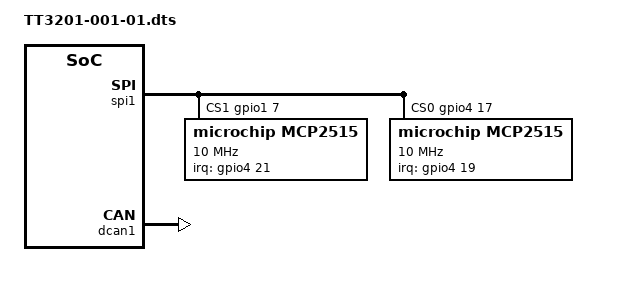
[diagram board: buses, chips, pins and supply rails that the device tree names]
/*
* Copyright (C) 2013 Tower Technologies
* Written by Alessandro Zummo <a.zummo@towertech.it>
*
* This program is free software; you can redistribute it and/or modify
* it under the terms of the GNU General Public License version 2 as
* published by the Free Software Foundation.
*/
/dts-v1/;
/plugin/;


/ {
	compatible = "ti,beaglebone", "ti,beaglebone-black", "ti,beaglebone-green";
	part-number = "TT3201-001";
	version = "01";

	/* state the resources this cape uses */
	exclusive-use =
		/* the pin header uses */
		"P9.27",	/* spi irq: gpio3_19 */
		"P9.25",	/* spi irq: gpio3_21 */
		"P9.31",	/* spi: spi1_sclk */
		"P9.29",	/* spi: spi1_d0 */
		"P9.30",	/* spi: spi1_d1 */
		"P9.28",	/* spi: spi1_cs0 */
		"P9.42",	/* spi: spi1_cs1 */
		"P9.26",	/* dcan1: dcan1_tx */
		"P9.24",	/* dcan1: dcan1_rx */
		/* the hardware IP uses */
		"gpio3_19",
		"gpio3_21",
		"spi1",
		"dcan1";

	fragment@0 {
		target = <&am33xx_pinmux>;
		__overlay__ {

			bone_tt3201_dcan1_pins: bone_tt3201_dcan1_pins {
				pinctrl-single,pins = <
					0x180 0x02      /* uart1_rxd.d_can1_tx", OUTPUT | MODE2 */
					0x184 0x32      /* uart1_txd.d_can1_rx", INPUT_PULLUP | MODE2 */
				>;
			};

			bone_tt3201_spi1_pins: pinmux_bone_tt3201_spi1_pins {
				pinctrl-single,pins = <
					0x190 0x33      /* mcasp0_aclkx.spi1_sclk, RX_ENABLED | PULLUP | MODE3 */
					0x194 0x33      /* mcasp0_fsx.spi1_d0, RX_ENABLED | PULLUP | MODE3 */
					0x198 0x13      /* mcasp0_axr0.spi1_d1, OUTPUT_PULLUP | MODE3 */
					0x19c 0x13      /* mcasp0_ahclkr.spi1_cs0, OUTPUT_PULLUP | MODE3 */
					0x164 0x12	/* ecap0_in_pwm0_out.spi1_cs1, OUTPUT_PULLUP | MODE2 */
				>;
			};

			bone_tt3201_mcp2515_0_pins: pinmux_bone_tt3201_0_mcp2515_pins {
				pinctrl-single,pins = <
					0x1a4 0x37	/* mcasp0_fsr.gpio3_19, RX_ENABLED | PULLUP | MODE7 */
				>;
			};

			bone_tt3201_mcp2515_1_pins: pinmux_bone_tt3201_1_mcp2515_pins {
				pinctrl-single,pins = <
					0x1ac 0x37      /* mcasp0_ahclkx.gpio3_21, RX_ENABLED | PULLUP | MODE7 */
				>;
			};
		};
	};

	fragment@1 {
	      target = <&spi1>;

		__overlay__ {
			#address-cells = <1>;
			#size-cells = <0>;

			status	  = "okay";
			pinctrl-names   = "default";
			pinctrl-0       = <&bone_tt3201_spi1_pins>;

			cs-gpios = <&gpio4 17 0>, <&gpio1 7 0>;

			mcp2515@0 {

				compatible = "microchip,mcp2515";
				reg = <1>; /* cs1 */
				mode = <0>;

				spi-max-frequency = <10000000>;

				pinctrl-names = "default";
				pinctrl-0 = <&bone_tt3201_mcp2515_1_pins>;

				interrupt-parent = <&gpio4>;
				interrupts = <21>;

				mcp251x,oscillator-frequency = <16000000>;
				mcp251x,irq-gpios = <&gpio4 21 0>;
				mcp251x,stay-awake = <1>;
			};

			mcp2515@1 {

				compatible = "microchip,mcp2515";
				reg = <0>; /* cs0 */
				mode = <0>;

				spi-max-frequency = <10000000>;

				pinctrl-names = "default";
				pinctrl-0 = <&bone_tt3201_mcp2515_0_pins>;

				interrupt-parent = <&gpio4>;
				interrupts = <19>;

				mcp251x,oscillator-frequency = <16000000>;
				mcp251x,irq-gpios = <&gpio4 19 0>;
				mcp251x,stay-awake = <1>;
				mcp251x,enable-clkout = <1>;
			};
		};
	};

	fragment@2 {
		target = <&dcan1>;
		__overlay__ {
			status = "okay";
			pinctrl-names = "default";
			pinctrl-0 = <&bone_tt3201_dcan1_pins>;
		};
	};
};
